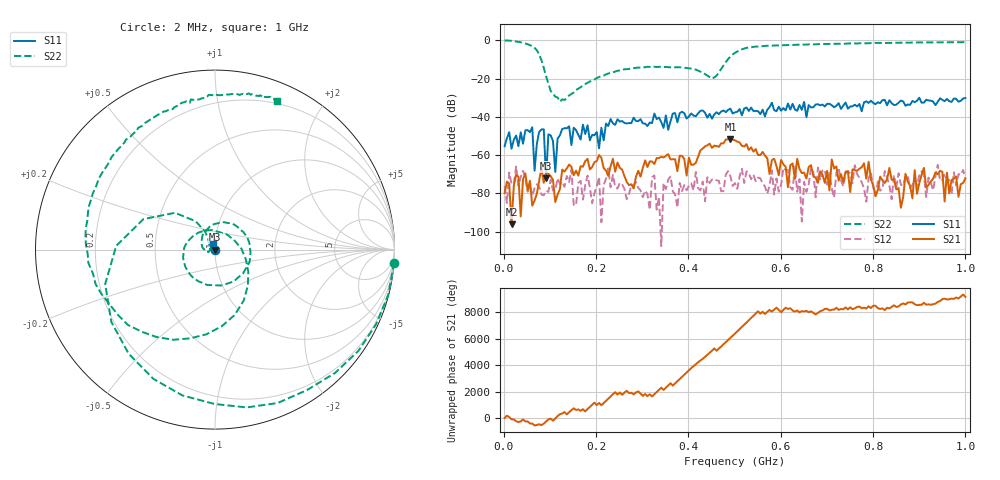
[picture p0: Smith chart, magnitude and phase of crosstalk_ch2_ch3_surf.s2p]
!Keysight Technologies N9923A: A.12.45
!Date: Tuesday, 28 October 2025 04:48:01
!Timezone: (UTC+08:00) Kuala Lumpur, Singapore
!Model: N9923A
!Serial: MY61181427
!GPS Latitude:
!GPS Longitude:
!GPS TimeStamp: 0001-01-01 00:00:00Z
!GPS Seconds Since Last Read: 0
!CHECKSUM:1833709433
!Correction: S11(ON U?)S21(ON U?)S12(ON U?)S22(ON U?)
!S2P File: Measurements:S11,S21,S12,S22:
# Hz S DB R 50
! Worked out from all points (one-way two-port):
!   201 points, 2 MHz to 1 GHz, reference 50 ohm
!   highest |S21| = -51.47 dB at 491 MHz (marker M1); lowest = -96.3 dB at 16.97 MHz (marker M2)
!   lowest |S11| = -72.2 dB at 91.82 MHz (marker M3), VSWR 1.00, Z = 50 - j0.000838 ohm
!   |S11| at or under -10 dB: start of sweep to end of sweep
!   |S22| runs from -32.0 to 0.0 dB; largest |S21 - S12| = 0.0029
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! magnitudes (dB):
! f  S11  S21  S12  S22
! 2 MHz  -55.3  -79.9  -76.2  0.0
! 16.97 MHz  -56.6  -96.3  -75.1  -0.2
! 61.88 MHz  -45.4  -86.4  -81.3  -3.0
! 66.87 MHz  -68.1  -83.8  -77.3  -3.9
! 86.83 MHz  -46.5  -74.5  -81.1  -14.3
! 91.82 MHz  -72.2  -69.1  -78.6  -18.7
! 96.81 MHz  -49.1  -69.8  -79.2  -22.6
! 111.8 MHz  -68.8  -84.5  -78.5  -29.4
! 126.8 MHz  -46.3  -67.6  -73.9  -30.8
! 171.7 MHz  -44.1  -66.1  -83.3  -23.7
! 206.6 MHz  -56.5  -59.9  -71.5  -19.1
! 281.4 MHz  -40.4  -77.4  -75.9  -14.5
! 336.3 MHz  -40.3  -61.5  -81.9  -13.8
! 396.2 MHz  -40.9  -70.7  -78.4  -14.4
! 491 MHz  -35.7  -51.5  -71.1  -8.4
! 501 MHz  -37.6  -52.3  -74.6  -6.5
! 670.7 MHz  -34.9  -70.9  -68.8  -2.0
! 750.5 MHz  -34.5  -79.3  -69.8  -1.5
! 790.4 MHz  -32.7  -63.5  -72.1  -1.4
! 805.4 MHz  -33.4  -81.5  -81.0  -1.3
! 835.3 MHz  -31.3  -66.7  -75.8  -1.3
! 1 GHz  -30.1  -72.3  -72.1  -0.9
